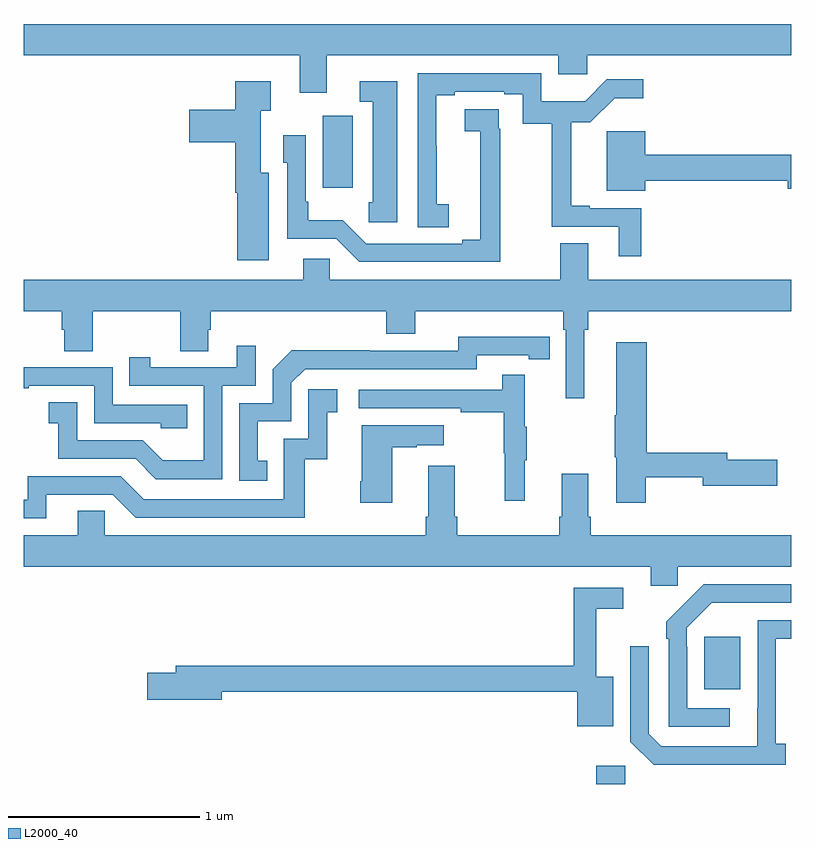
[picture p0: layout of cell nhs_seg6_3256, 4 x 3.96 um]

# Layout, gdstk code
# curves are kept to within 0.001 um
import gdstk
lib = gdstk.Library(unit=1e-6, precision=1e-09)
def R(c, l, rs):  # rectangles x0, y0, x1, y1
    for r in rs: c.add(gdstk.rectangle(r[:2], r[2:], *l))
def P(c, l, *ps):  # polygons
    for p in ps: c.add(gdstk.Polygon(p, *l))
L2000_40 = (2000, 40)

nhs_seg6_3256 = lib.new_cell('nhs_seg6_3256')
R(nhs_seg6_3256, L2000_40, [(303.983,983.5,304.134,983.596), (304.547,983.993,304.735,984.268)])
P(nhs_seg6_3256, L2000_40, [(302.578,987.296),(303.785,987.296),(303.785,987.198),(303.937,987.198),(303.937,987.296),(305,987.296),(305,987.46),(301,987.46),(301,987.296),(302.438,987.296),(302.438,987.102),(302.578,987.102)],
  [(304.217,986.499),(303.949,986.499),(303.949,986.512),(303.854,986.512),(303.854,986.949),(303.953,986.949),(304.079,987.074),(304.228,987.074),(304.228,987.171),(304.038,987.171),(303.925,987.058),(303.696,987.058),(303.696,987.204),(303.054,987.204),(303.054,986.401),(303.214,986.401),(303.214,986.521),(303.153,986.521),(303.153,986.825),(303.151,986.825),(303.151,987.088),(303.247,987.088),(303.247,987.108),(303.503,987.108),(303.503,987.094),(303.6,987.094),(303.6,986.941),(303.751,986.941),(303.751,986.403),(304.1,986.403),(304.1,986.25),(304.217,986.25)],
  [(302.278,986.686),(302.236,986.686),(302.236,987.007),(302.287,987.007),(302.287,987.163),(302.102,987.163),(302.102,987.013),(301.863,987.013),(301.863,986.843),(302.102,986.843),(302.102,986.582),(302.114,986.582),(302.114,986.229),(302.278,986.229)],
  [(302.947,987.163),(302.751,987.163),(302.751,987.055),(302.819,987.055),(302.819,986.532),(302.797,986.532),(302.797,986.427),(302.947,986.427)],
  [(303.482,986.915),(303.476,986.915),(303.476,987.017),(303.297,987.017),(303.297,986.902),(303.379,986.902),(303.38,986.336),(303.284,986.336),(303.284,986.316),(302.784,986.316),(302.663,986.437),(302.482,986.437),(302.482,986.533),(302.469,986.533),(302.469,986.881),(302.352,986.881),(302.352,986.736),(302.373,986.736),(302.373,986.34),(302.628,986.34),(302.748,986.22),(303.482,986.22)],
  [(302.716,986.87),(302.714,986.87),(302.714,986.983),(302.558,986.983),(302.558,986.607),(302.716,986.607)],
  [(304.24,986.644),(304.982,986.644),(304.982,986.602),(305,986.602),(305,986.78),(304.24,986.78),(304.24,986.901),(304.037,986.901),(304.037,986.591),(304.24,986.591)],
  [(301,985.964),(301.199,985.964),(301.199,985.866),(301.211,985.866),(301.211,985.756),(301.359,985.756),(301.359,985.964),(301.816,985.964),(301.816,985.756),(301.963,985.756),(301.963,985.866),(301.976,985.866),(301.976,985.964),(302.888,985.964),(302.888,985.847),(303.04,985.847),(303.04,985.964),(303.812,985.964),(303.812,985.868),(303.825,985.868),(303.825,985.509),(303.922,985.509),(303.922,985.868),(303.941,985.868),(303.941,985.964),(305,985.964),(305,986.128),(303.943,986.128),(303.943,986.318),(303.796,986.318),(303.796,986.128),(302.595,986.128),(302.595,986.238),(302.456,986.238),(302.456,986.128),(301,986.128)],
  [(302.27,985.185),(302.221,985.185),(302.221,985.389),(302.394,985.389),(302.394,985.59),(302.466,985.662),(303.36,985.662),(303.36,985.734),(303.632,985.734),(303.632,985.714),(303.74,985.714),(303.74,985.83),(303.264,985.831),(303.264,985.758),(302.804,985.758),(302.804,985.76),(302.396,985.76),(302.298,985.662),(302.298,985.485),(302.124,985.485),(302.124,985.08),(302.27,985.08)],
  [(304.242,985.098),(304.538,985.098),(304.538,985.055),(304.927,985.055),(304.927,985.19),(304.666,985.19),(304.666,985.226),(304.247,985.226),(304.247,985.801),(304.088,985.801),(304.088,985.421),(304.081,985.421),(304.081,985.203),(304.088,985.203),(304.088,984.966),(304.242,984.966)],
  [(302.034,985.575),(302.208,985.575),(302.208,985.783),(302.111,985.783),(302.111,985.671),(301.66,985.671),(301.66,985.723),(301.549,985.723),(301.549,985.575),(301.938,985.575),(301.938,985.186),(301.724,985.186),(301.62,985.29),(301.278,985.29),(301.278,985.489),(301.131,985.489),(301.131,985.379),(301.18,985.379),(301.18,985.194),(301.583,985.194),(301.688,985.089),(302.034,985.089)],
  [(301.853,985.476),(301.464,985.476),(301.464,985.671),(301,985.671),(301,985.563),(301.027,985.563),(301.027,985.575),(301.368,985.575),(301.368,985.38),(301.713,985.38),(301.713,985.353),(301.853,985.353)],
  [(303.611,985.187),(303.622,985.187),(303.622,985.361),(303.611,985.361),(303.611,985.633),(303.493,985.633),(303.493,985.554),(302.745,985.554),(302.745,985.458),(303.277,985.458),(303.277,985.438),(303.501,985.438),(303.501,985.224),(303.508,985.224),(303.508,984.975),(303.611,984.975)],
  [(301.117,985.008),(301.464,985.008),(301.584,984.888),(302.464,984.888),(302.464,985.191),(302.582,985.191),(302.582,985.437),(302.635,985.437),(302.635,985.558),(302.484,985.558),(302.484,985.299),(302.355,985.299),(302.355,984.984),(301.626,984.984),(301.506,985.104),(301.02,985.104),(301.02,984.981),(301,984.981),(301,984.885),(301.117,984.885)],
  [(302.92,985.255),(303.047,985.255),(303.047,985.265),(303.19,985.265),(303.19,985.369),(302.762,985.369),(302.762,985.078),(302.755,985.078),(302.755,984.966),(302.92,984.966)],
  [(304.407,984.632),(305,984.632),(305,984.796),(303.956,984.796),(303.956,984.892),(303.943,984.892),(303.943,985.117),(303.803,985.117),(303.803,984.892),(303.791,984.892),(303.791,984.796),(303.26,984.796),(303.26,984.892),(303.247,984.892),(303.247,985.159),(303.107,985.159),(303.107,984.892),(303.095,984.892),(303.095,984.796),(301.422,984.796),(301.422,984.923),(301.283,984.923),(301.283,984.796),(301,984.796),(301,984.632),(304.268,984.632),(304.268,984.534),(304.407,984.534)],
  [(304.678,983.895),(304.458,983.895),(304.458,984.215),(304.455,984.215),(304.455,984.315),(304.584,984.444),(305,984.444),(305,984.54),(304.544,984.54),(304.347,984.345),(304.347,984.257),(304.362,984.257),(304.362,983.799),(304.678,983.799)],
  [(304.072,984.058),(303.983,984.058),(303.983,984.414),(304.123,984.414),(304.123,984.522),(303.865,984.522),(303.865,984.116),(301.793,984.116),(301.793,984.08),(301.644,984.08),(301.644,983.938),(302.032,983.938),(302.032,983.98),(303.885,983.98),(303.885,983.801),(304.072,983.801)],
  [(304.972,983.71),(304.92,983.71),(304.92,984.258),(305,984.258),(305,984.354),(304.824,984.354),(304.823,983.697),(304.323,983.697),(304.257,983.763),(304.257,984.217),(304.161,984.217),(304.161,983.721),(304.282,983.6),(304.972,983.6)])

lib.write_gds('nhs_seg6_3256.gds')
